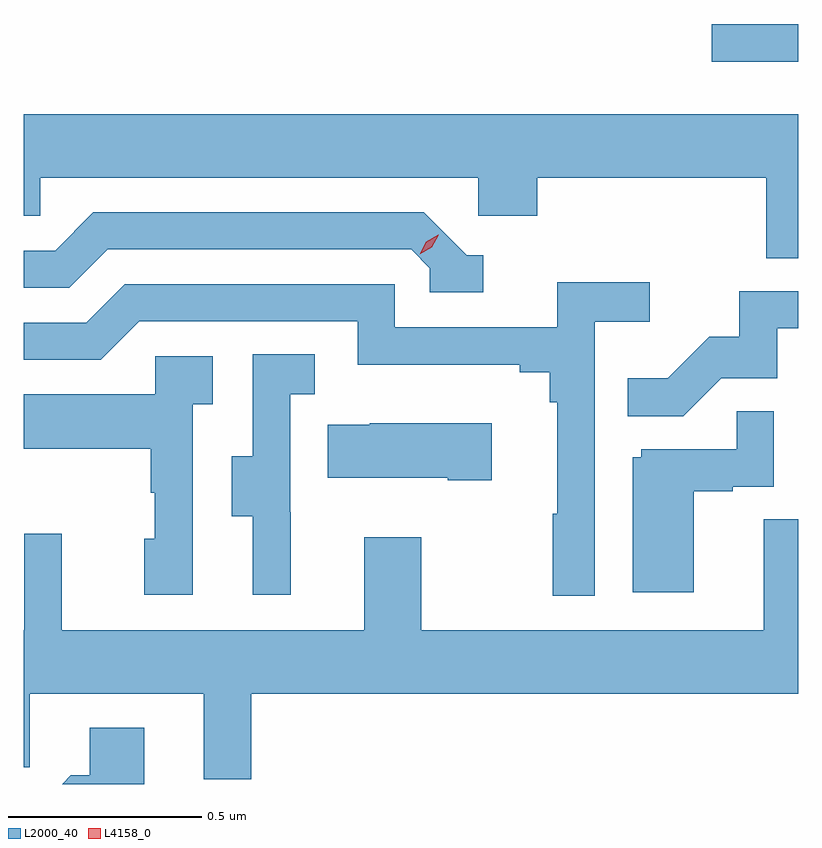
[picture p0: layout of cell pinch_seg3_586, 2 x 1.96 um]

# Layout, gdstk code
import gdstk
lib = gdstk.Library(unit=1e-6, precision=1e-09)
def R(c, l, rs):  # rectangles x0, y0, x1, y1
    for r in rs: c.add(gdstk.rectangle(r[:2], r[2:], *l))
def P(c, l, *ps):  # polygons
    for p in ps: c.add(gdstk.Polygon(p, *l))
L2000_40 = (2000, 40)
L4158_0 = (4158, 0)

pinch_seg3_586 = lib.new_cell('pinch_seg3_586')
R(pinch_seg3_586, L2000_40, [(1071.087,698.552,1071.31,698.649)])
P(pinch_seg3_586, L2000_40, [(1071.31,698.416),(1069.31,698.416),(1069.31,698.154),(1069.353,698.154),(1069.353,698.252),(1070.484,698.252),(1070.484,698.154),(1070.636,698.154),(1070.636,698.252),(1071.227,698.252),(1071.227,698.044),(1071.31,698.044)],
  [(1070.497,698.052),(1070.454,698.052),(1070.343,698.163),(1069.49,698.163),(1069.391,698.064),(1069.31,698.064),(1069.31,697.968),(1069.428,697.968),(1069.527,698.067),(1070.31,698.067),(1070.358,698.019),(1070.358,697.956),(1070.497,697.956)],
  [(1070.784,697.88),(1070.926,697.88),(1070.926,697.982),(1070.687,697.982),(1070.687,697.866),(1070.268,697.866),(1070.268,697.977),(1069.571,697.977),(1069.472,697.878),(1069.31,697.878),(1069.31,697.782),(1069.509,697.782),(1069.608,697.881),(1070.172,697.881),(1070.172,697.769),(1070.591,697.769),(1070.591,697.75),(1070.668,697.75),(1070.668,697.673),(1070.687,697.673),(1070.687,697.385),(1070.676,697.385),(1070.676,697.173),(1070.784,697.173)],
  [(1071.111,697.734),(1071.255,697.734),(1071.255,697.863),(1071.31,697.863),(1071.31,697.959),(1071.157,697.959),(1071.157,697.842),(1071.08,697.842),(1070.973,697.735),(1070.869,697.735),(1070.869,697.636),(1071.013,697.636)],
  [(1070,697.389),(1069.998,697.389),(1069.998,697.693),(1070.062,697.693),(1070.062,697.796),(1069.902,697.796),(1069.902,697.533),(1069.847,697.533),(1069.847,697.378),(1069.901,697.378),(1069.901,697.176),(1070,697.176)],
  [(1069.746,697.667),(1069.798,697.667),(1069.798,697.791),(1069.65,697.791),(1069.65,697.693),(1069.31,697.693),(1069.31,697.553),(1069.638,697.553),(1069.638,697.439),(1069.648,697.439),(1069.648,697.32),(1069.622,697.32),(1069.622,697.176),(1069.746,697.176)],
  [(1071.04,697.443),(1071.14,697.443),(1071.14,697.455),(1071.246,697.455),(1071.246,697.649),(1071.151,697.649),(1071.151,697.551),(1070.904,697.551),(1070.904,697.53),(1070.882,697.53),(1070.882,697.182),(1071.04,697.182)],
  [(1070.518,697.618),(1070.203,697.618),(1070.203,697.615),(1070.095,697.615),(1070.095,697.478),(1070.405,697.478),(1070.405,697.471),(1070.518,697.471)],
  [(1069.897,696.92),(1071.31,696.92),(1071.31,697.37),(1071.221,697.37),(1071.221,697.084),(1070.337,697.084),(1070.337,697.324),(1070.189,697.324),(1070.189,697.084),(1069.409,697.084),(1069.409,697.333),(1069.311,697.333),(1069.311,697.084),(1069.31,697.084),(1069.31,696.73),(1069.326,696.73),(1069.326,696.92),(1069.775,696.92),(1069.775,696.699),(1069.897,696.699)],
  [(1069.621,696.832),(1069.481,696.832),(1069.481,696.709),(1069.432,696.709),(1069.41,696.687),(1069.621,696.687)])
P(pinch_seg3_586, L4158_0, [(1070.332,698.054),(1070.332,698.054),(1070.349,698.087),(1070.38,698.105),(1070.381,698.105),(1070.381,698.105),(1070.364,698.073),(1070.333,698.054)])

lib.write_gds('pinch_seg3_586.gds')
